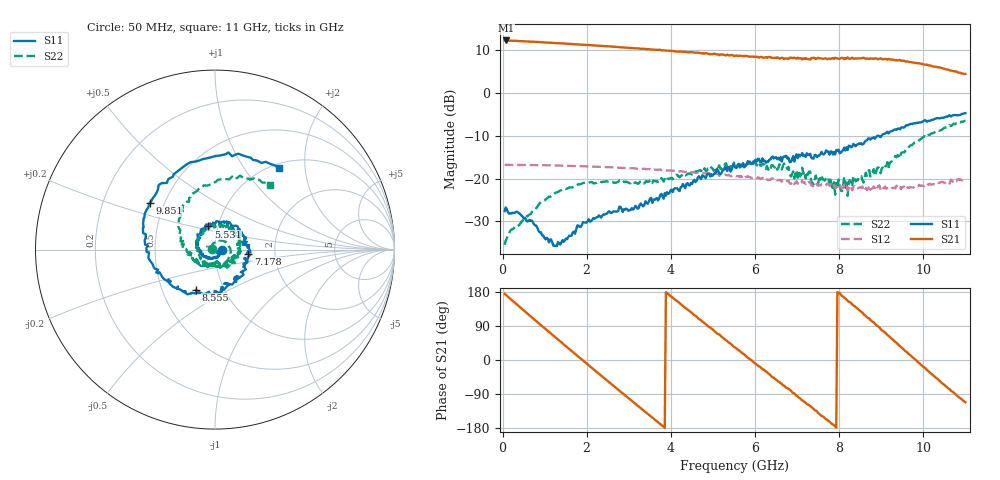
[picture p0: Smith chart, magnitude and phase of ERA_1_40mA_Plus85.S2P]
! Mini-Circuits
! S2P DATA File Format
! Type: MMIC Amplifier
! Model: ERA-1  Reference Data:RDF-960
! Note: All S Parameters are in dB deg format
! TEST CONDITIONS: INPUT POWER = -15dBm, Icc = 40mA, Vd = 3.30V @Temperature = +85degC
# MHz S DB R 50
!  FREQ  dB(S11)  PHS(S11)  dB(S21)  PHS(S21)  dB(S12)  PHS(S12)  dB(S22)  PHS(S22)
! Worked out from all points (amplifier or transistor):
!   401 points, 50 MHz to 11 GHz, reference 50 ohm
!   highest |S21| = 12.2 dB at 77 MHz (marker M1)
!   |S21| within 3 dB of that: start of sweep to 4.737 GHz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
!   unconditionally stable (mu >= 1): start of sweep to end of sweep
!   at 1.832 GHz: K = 1.23, MAG = 11.3 dB, |S12| = -17.1 dB
!   at 5.45 GHz: K = 1.80, MAG = 8.9 dB, |S12| = -19.4 dB
!   at 11 GHz: K = 1.68, MAG = 7.5 dB, |S12| = -20.4 dB
!   S11 on the Smith chart (normalised r, x): 50 MHz: 1.09, -0.00; 5.531 GHz: 0.90, +0.24; 7.178 GHz: 1.45, -0.07; 8.555 GHz: 0.73, -0.35; 9.851 GHz: 0.41, +0.27; 11 GHz: 1.07, +1.46
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50  -27.60 -1.5  12.13 174.6  -16.80 -4.3  -35.43 167.8
77  -26.73 -2.6  12.17 172.2  -16.82 -6.0  -34.46 163.1
536  -29.16 -35.8  11.97 127.9  -16.86 -39.4  -29.25 110.3
941  -33.21 -53.8  11.73 89.4  -16.90 -69.0  -25.32 71.9
1454  -34.76 -24.3  11.45 41.3  -17.01 -106.7  -22.43 31.5
1886  -30.88 -27.1  11.17 1.2  -17.15 -138.5  -21.18 -4.5
2372  -28.67 -50.7  10.90 -43.7  -17.28 -174.3  -20.84 -43.0
2777  -26.55 -72.8  10.59 -81.0  -17.52 155.5  -20.43 -78.5
3209  -27.01 -100.9  10.32 -120.1  -17.71 124.4  -21.22 -119.7
3722  -24.72 -127.6  10.01 -166.6  -17.94 86.6  -20.81 -163.2
4154  -22.30 -160.7  9.55 155.0  -18.38 54.8  -19.16 154.9
4667  -19.48 174.0  9.29 108.5  -18.53 17.1  -18.13 120.5
5531  -17.43 105.8  8.59 33.0  -19.42 -46.5  -16.89 57.7
6287  -16.07 49.2  8.13 -32.1  -20.21 -102.3  -17.04 10.3
7178  -14.57 -6.8  7.86 -110.8  -20.87 -164.2  -18.36 -36.7
7367  -15.32 -15.7  8.07 -126.5  -21.70 -178.4  -20.96 -49.0
7961  -13.52 -59.4  8.02 179.5  -21.93 142.4  -22.23 -82.9
8555  -12.08 -115.7  8.07 125.4  -21.84 98.3  -20.33 -135.5
9203  -9.12 -162.1  7.78 61.3  -22.38 59.1  -16.37 -174.2
9851  -6.97 144.4  6.93 -2.6  -21.64 19.3  -11.34 134.1
10436  -5.87 97.7  5.75 -59.9  -20.77 -24.0  -8.69 92.2
11003  -4.77 52.2  4.38 -111.5  -20.36 -63.1  -6.54 49.4
